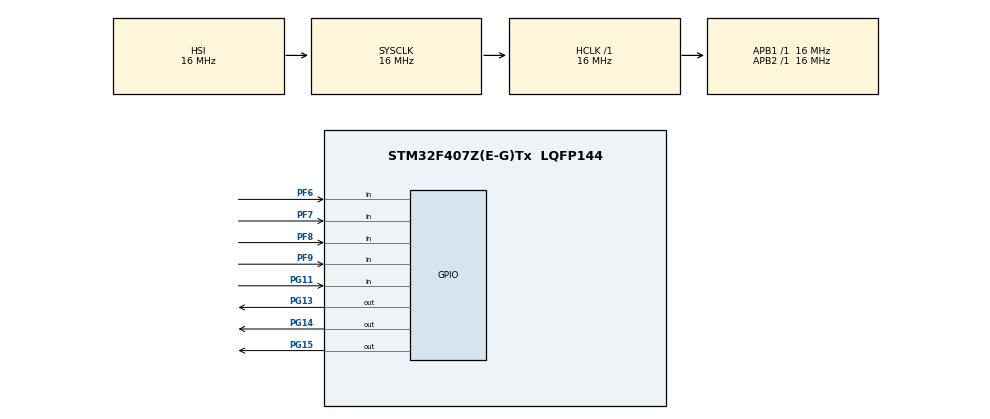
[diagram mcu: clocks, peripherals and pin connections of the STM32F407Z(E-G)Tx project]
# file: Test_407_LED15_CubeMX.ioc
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Mcu.Family=STM32F4
Mcu.Name=STM32F407Z(E-G)Tx
Mcu.Package=LQFP144
NVIC.PriorityGroup=NVIC_PRIORITYGROUP_4
PF6.Signal=GPIO_Input
PF7.Signal=GPIO_Input
PF8.Signal=GPIO_Input
PF9.Signal=GPIO_Input
PG11.Signal=GPIO_Input
PG13.Signal=GPIO_Output
PG14.Signal=GPIO_Output
PG15.Signal=GPIO_Output
PH0-OSC_IN.Mode=HSE-External-Oscillator
PH0-OSC_IN.Signal=RCC_OSC_IN
PH1-OSC_OUT.Mode=HSE-External-Oscillator
PH1-OSC_OUT.Signal=RCC_OSC_OUT
ProjectManager.HeapSize=0x200
ProjectManager.StackSize=0x400
ProjectManager.TargetToolchain=SW4STM32
RCC.AHBFreq_Value=16000000
RCC.APB1Freq_Value=16000000
RCC.APB2Freq_Value=16000000
RCC.CortexFreq_Value=16000000
RCC.HSE_VALUE=25000000
RCC.HSI_VALUE=16000000
RCC.LSE_VALUE=32768
RCC.SYSCLKFreq_VALUE=16000000
RCC.VCOOutputFreq_Value=192000000
board=custom

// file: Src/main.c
/* USER CODE BEGIN Header */
/**
  ******************************************************************************
  * @file           : main.c
  * @brief          : Main program body
  ******************************************************************************
  ** This notice applies to any and all portions of this file
  * that are not between comment pairs USER CODE BEGIN and
  * USER CODE END. Other portions of this file, whether
  * inserted by the user or by software development tools
  * are owned by their respective copyright owners.
  *
  * COPYRIGHT(c) 2018 STMicroelectronics
  *
  * Redistribution and use in source and binary forms, with or without modification,
  * are permitted provided that the following conditions are met:
  *   1. Redistributions of source code must retain the above copyright notice,
  *      this list of conditions and the following disclaimer.
  *   2. Redistributions in binary form must reproduce the above copyright notice,
  *      this list of conditions and the following disclaimer in the documentation
  *      and/or other materials provided with the distribution.
  *   3. Neither the name of STMicroelectronics nor the names of its contributors
  *      may be used to endorse or promote products derived from this software
  *      without specific prior written permission.
  *
  * THIS SOFTWARE IS PROVIDED BY THE COPYRIGHT HOLDERS AND CONTRIBUTORS "AS IS"
  * AND ANY EXPRESS OR IMPLIED WARRANTIES, INCLUDING, BUT NOT LIMITED TO, THE
  * IMPLIED WARRANTIES OF MERCHANTABILITY AND FITNESS FOR A PARTICULAR PURPOSE ARE
  * DISCLAIMED. IN NO EVENT SHALL THE COPYRIGHT HOLDER OR CONTRIBUTORS BE LIABLE
  * FOR ANY DIRECT, INDIRECT, INCIDENTAL, SPECIAL, EXEMPLARY, OR CONSEQUENTIAL
  * DAMAGES (INCLUDING, BUT NOT LIMITED TO, PROCUREMENT OF SUBSTITUTE GOODS OR
  * SERVICES; LOSS OF USE, DATA, OR PROFITS; OR BUSINESS INTERRUPTION) HOWEVER
  * CAUSED AND ON ANY THEORY OF LIABILITY, WHETHER IN CONTRACT, STRICT LIABILITY,
  * OR TORT (INCLUDING NEGLIGENCE OR OTHERWISE) ARISING IN ANY WAY OUT OF THE USE
  * OF THIS SOFTWARE, EVEN IF ADVISED OF THE POSSIBILITY OF SUCH DAMAGE.
  *
  ******************************************************************************
  */
/* USER CODE END Header */

#include "main.h"

/* USER CODE BEGIN PTD */
GPIO_PinState SW1;
GPIO_PinState SW2;
GPIO_PinState SW3;
GPIO_PinState SW4;

/* USER CODE END PTD */

void SystemClock_Config(void);
static void MX_GPIO_Init(void);

/* USER CODE BEGIN 0 */

#ifdef __cplusplus
extern "C"
#endif
/* USER CODE END 0 */

int main(void)
{

  /* MCU Configuration--------------------------------------------------------*/

  /* Reset of all peripherals, Initializes the Flash interface and the Systick. */
  HAL_Init();

  /* Configure the system clock */
  SystemClock_Config();

  /* Initialize all configured peripherals */
  MX_GPIO_Init();
  /* USER CODE BEGIN 2 */
	HAL_GPIO_WritePin(GPIOG, GPIO_PIN_14, GPIO_PIN_SET);
  /* USER CODE END 2 */

  /* Infinite loop */
  while (1)
  {

    /* USER CODE BEGIN 3 */
	  for (;;)
	  {
		  HAL_GPIO_WritePin(GPIOG, GPIO_PIN_15, GPIO_PIN_SET);
		  HAL_GPIO_WritePin(GPIOG, GPIO_PIN_13, GPIO_PIN_RESET);
		  HAL_Delay(500);
		  HAL_GPIO_WritePin(GPIOG, GPIO_PIN_15, GPIO_PIN_RESET);
		  HAL_GPIO_WritePin(GPIOG, GPIO_PIN_13, GPIO_PIN_SET);
		  HAL_Delay(500);

		  SW1 = HAL_GPIO_ReadPin(GPIOF, GPIO_PIN_6);
		  SW2 = HAL_GPIO_ReadPin(GPIOF, GPIO_PIN_7);
		  SW3 = HAL_GPIO_ReadPin(GPIOF, GPIO_PIN_8);
		  SW4 = HAL_GPIO_ReadPin(GPIOF, GPIO_PIN_9);

		  if (SW1 == RESET  || SW2 == RESET  || SW3 == RESET  || SW4 == RESET)
		  {
			  HAL_GPIO_WritePin(GPIOG, GPIO_PIN_14, GPIO_PIN_RESET);
		  }
		  else
		  {
			  HAL_GPIO_WritePin(GPIOG, GPIO_PIN_14, GPIO_PIN_SET);
		  }

	  }
  }
  /* USER CODE END 3 */
}

void SystemClock_Config(void)
{
  RCC_OscInitTypeDef RCC_OscInitStruct = {0};
  RCC_ClkInitTypeDef RCC_ClkInitStruct = {0};

  /**Configure the main internal regulator output voltage
  */
  __HAL_RCC_PWR_CLK_ENABLE();
  __HAL_PWR_VOLTAGESCALING_CONFIG(PWR_REGULATOR_VOLTAGE_SCALE1);
  /**Initializes the CPU, AHB and APB busses clocks
  */
  RCC_OscInitStruct.OscillatorType = RCC_OSCILLATORTYPE_HSI;
  RCC_OscInitStruct.HSIState = RCC_HSI_ON;
  RCC_OscInitStruct.HSICalibrationValue = RCC_HSICALIBRATION_DEFAULT;
  RCC_OscInitStruct.PLL.PLLState = RCC_PLL_NONE;
  if (HAL_RCC_OscConfig(&RCC_OscInitStruct) != HAL_OK)
  {
    Error_Handler();
  }
  /**Initializes the CPU, AHB and APB busses clocks
  */
  RCC_ClkInitStruct.ClockType = RCC_CLOCKTYPE_HCLK|RCC_CLOCKTYPE_SYSCLK
                              |RCC_CLOCKTYPE_PCLK1|RCC_CLOCKTYPE_PCLK2;
  RCC_ClkInitStruct.SYSCLKSource = RCC_SYSCLKSOURCE_HSI;
  RCC_ClkInitStruct.AHBCLKDivider = RCC_SYSCLK_DIV1;
  RCC_ClkInitStruct.APB1CLKDivider = RCC_HCLK_DIV1;
  RCC_ClkInitStruct.APB2CLKDivider = RCC_HCLK_DIV1;

  if (HAL_RCC_ClockConfig(&RCC_ClkInitStruct, FLASH_LATENCY_0) != HAL_OK)
  {
    Error_Handler();
  }
}

static void MX_GPIO_Init(void)
{
  GPIO_InitTypeDef GPIO_InitStruct = {0};

  /* GPIO Ports Clock Enable */
  __HAL_RCC_GPIOF_CLK_ENABLE();
  __HAL_RCC_GPIOH_CLK_ENABLE();
  __HAL_RCC_GPIOG_CLK_ENABLE();

  /*Configure GPIO pin Output Level */
  HAL_GPIO_WritePin(GPIOG, GPIO_PIN_13|GPIO_PIN_14|GPIO_PIN_15, GPIO_PIN_RESET);

  /*Configure GPIO pins : PF6 PF7 PF8 PF9 */
  GPIO_InitStruct.Pin = GPIO_PIN_6|GPIO_PIN_7|GPIO_PIN_8|GPIO_PIN_9;
  GPIO_InitStruct.Mode = GPIO_MODE_INPUT;
  GPIO_InitStruct.Pull = GPIO_NOPULL;
  HAL_GPIO_Init(GPIOF, &GPIO_InitStruct);

  /*Configure GPIO pin : PG11 */
  GPIO_InitStruct.Pin = GPIO_PIN_11;
  GPIO_InitStruct.Mode = GPIO_MODE_INPUT;
  GPIO_InitStruct.Pull = GPIO_NOPULL;
  HAL_GPIO_Init(GPIOG, &GPIO_InitStruct);

  /*Configure GPIO pins : PG13 PG14 PG15 */
  GPIO_InitStruct.Pin = GPIO_PIN_13|GPIO_PIN_14|GPIO_PIN_15;
  GPIO_InitStruct.Mode = GPIO_MODE_OUTPUT_PP;
  GPIO_InitStruct.Pull = GPIO_NOPULL;
  GPIO_InitStruct.Speed = GPIO_SPEED_FREQ_LOW;
  HAL_GPIO_Init(GPIOG, &GPIO_InitStruct);

}

void Error_Handler(void)
{
}

/************************ (C) COPYRIGHT STMicroelectronics *****END OF FILE****/
